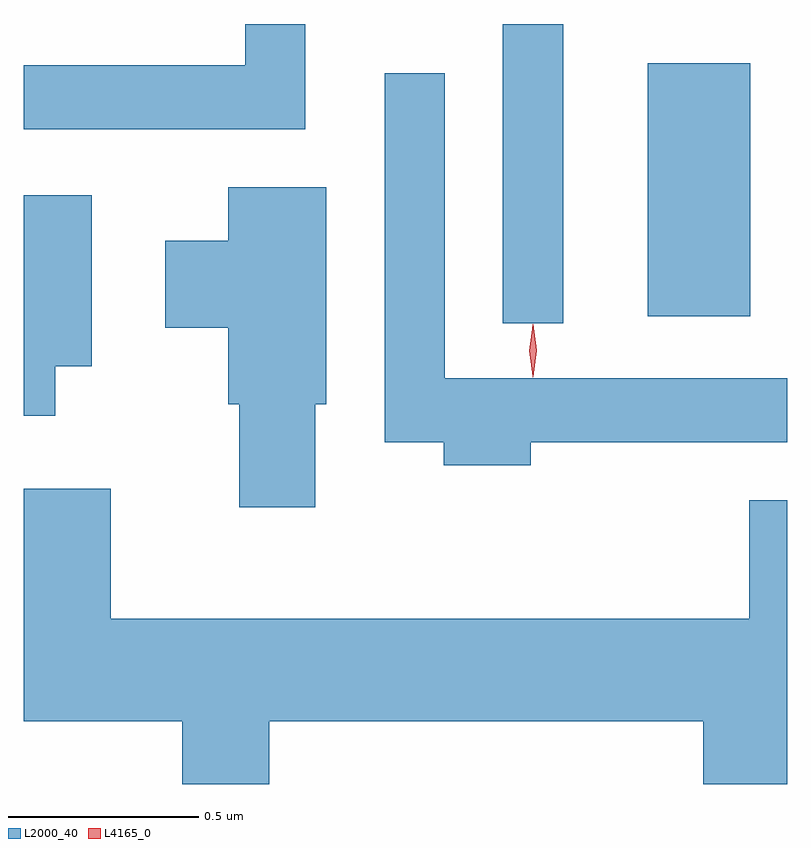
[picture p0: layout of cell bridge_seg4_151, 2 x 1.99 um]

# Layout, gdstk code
import gdstk
lib = gdstk.Library(unit=1e-6, precision=1e-09)
def R(c, l, rs):  # rectangles x0, y0, x1, y1
    for r in rs: c.add(gdstk.rectangle(r[:2], r[2:], *l))
def P(c, l, *ps):  # polygons
    for p in ps: c.add(gdstk.Polygon(p, *l))
L2000_40 = (2000, 40)
L4165_0 = (4165, 0)

bridge_seg4_151 = lib.new_cell('bridge_seg4_151')
R(bridge_seg4_151, L2000_40, [(872.366,1313.538,872.524,1314.322), (872.746,1313.556,873.014,1314.219)])
P(bridge_seg4_151, L2000_40, [(871.849,1314.322),(871.691,1314.322),(871.691,1314.214),(871.111,1314.214),(871.111,1314.046),(871.849,1314.046)],
  [(872.439,1313.226),(873.111,1313.226),(873.111,1313.394),(872.214,1313.394),(872.214,1314.193),(872.056,1314.193),(872.056,1313.226),(872.211,1313.226),(872.211,1313.166),(872.439,1313.166)],
  [(871.874,1313.326),(871.904,1313.326),(871.904,1313.894),(871.646,1313.894),(871.646,1313.754),(871.481,1313.754),(871.481,1313.526),(871.646,1313.526),(871.646,1313.326),(871.676,1313.326),(871.676,1313.056),(871.874,1313.056)],
  [(871.194,1313.426),(871.289,1313.426),(871.289,1313.874),(871.111,1313.874),(871.111,1313.296),(871.194,1313.296)],
  [(871.754,1312.496),(872.891,1312.496),(872.891,1312.331),(873.111,1312.331),(873.111,1313.074),(873.011,1313.074),(873.011,1312.764),(871.339,1312.764),(871.339,1313.104),(871.111,1313.104),(871.111,1312.496),(871.526,1312.496),(871.526,1312.331),(871.754,1312.331)])
P(bridge_seg4_151, L4165_0, [(872.445,1313.397),(872.445,1313.398),(872.436,1313.467),(872.445,1313.536),(872.445,1313.536),(872.446,1313.536),(872.455,1313.467),(872.446,1313.398)],
  [(872.445,1313.399),(872.445,1313.4),(872.435,1313.466),(872.445,1313.532),(872.445,1313.533),(872.446,1313.532),(872.455,1313.466),(872.446,1313.4)])

lib.write_gds('bridge_seg4_151.gds')
